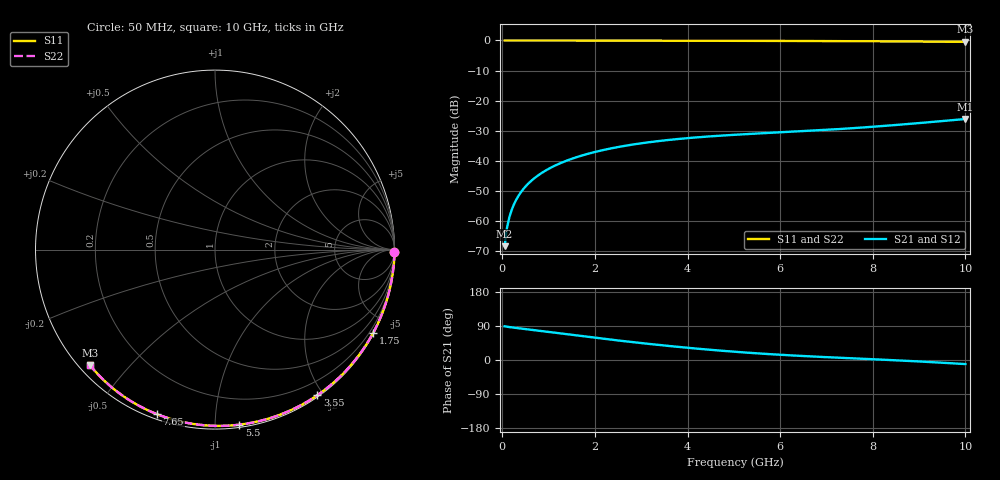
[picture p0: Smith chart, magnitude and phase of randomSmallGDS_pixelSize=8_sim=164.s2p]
! freq	dB(S11)	phase(S11)	dB(S12)	phase(S12)
!  dB(S21)	phase(S21)	dB(S22)	phase(S22)
!S-par simulation data
#  GHz  S  DB  R 50
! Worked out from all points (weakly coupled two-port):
!   200 points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, 50 MHz to 10 GHz, reference 50 ohm
!   highest |S21| = -26.11 dB at 10 GHz (marker M1); lowest = -68.4 dB at 50 MHz (marker M2)
!   lowest |S11| = -0.5 dB at 10 GHz (marker M3), VSWR 38.12, Z = 1.51 - j19.6 ohm
!   |S11| at or under -10 dB: nowhere
!   |S22| runs from -0.5 to 0.0 dB; largest |S21 - S12| = 0
!   S11 on the Smith chart (normalised r, x): 50 MHz: open; 1.75 GHz: 0.04, -4.04; 3.55 GHz: 0.02, -1.92; 5.5 GHz: 0.02, -1.15; 7.65 GHz: 0.02, -0.71; 10 GHz: 0.03, -0.39
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0.05  -0.00 -0.8  -68.37 88.9  -68.37 88.9  -0.00 -0.8
0.1  -0.00 -1.6  -62.38 87.8  -62.38 87.8  -0.00 -1.6
0.15  -0.00 -2.4  -58.89 86.9  -58.89 86.9  -0.00 -2.4
0.2  -0.00 -3.2  -56.42 86.1  -56.42 86.1  -0.00 -3.2
0.25  -0.00 -4.0  -54.51 85.3  -54.51 85.3  -0.00 -4.0
0.35  -0.00 -5.6  -51.63 83.8  -51.63 83.8  -0.00 -5.6
0.5  -0.01 -8.1  -48.57 81.6  -48.57 81.6  -0.01 -8.1
0.7  -0.01 -11.2  -45.69 78.5  -45.69 78.5  -0.01 -11.2
1  -0.02 -16.0  -42.67 73.9  -42.67 73.9  -0.02 -16.0
1.35  -0.03 -21.5  -40.18 68.5  -40.18 68.5  -0.03 -21.5
1.75  -0.04 -27.8  -38.10 62.4  -38.10 62.4  -0.04 -27.8
2.5  -0.05 -39.3  -35.42 51.5  -35.42 51.5  -0.05 -39.3
3.4  -0.07 -52.8  -33.39 39.5  -33.39 39.5  -0.07 -52.8
3.55  -0.07 -54.9  -33.13 37.6  -33.13 37.6  -0.07 -54.9
4.3  -0.09 -65.7  -32.08 28.9  -32.08 28.9  -0.09 -65.7
5.05  -0.12 -76.1  -31.32 21.5  -31.32 21.5  -0.12 -76.1
5.5  -0.13 -82.1  -30.93 17.6  -30.93 17.6  -0.13 -82.1
6.7  -0.19 -97.7  -29.96 9.3  -29.96 9.3  -0.19 -97.7
7.65  -0.24 -109.4  -29.07 3.9  -29.07 3.9  -0.24 -109.4
8.35  -0.30 -117.9  -28.27 0.1  -28.27 0.1  -0.30 -117.9
9.2  -0.37 -127.9  -27.19 -5.2  -27.19 -5.2  -0.37 -127.9
10  -0.46 -137.2  -26.11 -10.8  -26.11 -10.8  -0.46 -137.2
